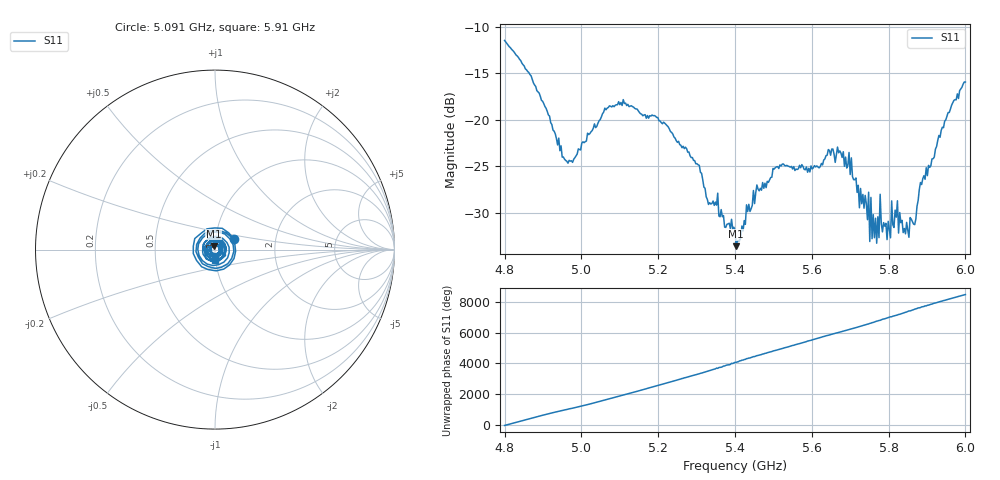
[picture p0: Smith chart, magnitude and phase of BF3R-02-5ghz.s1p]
! NanoVNA-App
! Date: 2026-05-22 16:06:52
! Start: 4.8GHz Stop: 6GHz Points: 401
! S-Parameter data: F S11
# Hz S RI R 50
!  Frequency  S11_Real  S11_Imag
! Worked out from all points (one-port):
!   401 points, 4.8 GHz to 6 GHz, reference 50 ohm
!   lowest |S11| = -33.6 dB at 5.403 GHz (marker M1), VSWR 1.04, Z = 49.2 + j1.93 ohm
!   |S11| at or under -10 dB: start of sweep to end of sweep
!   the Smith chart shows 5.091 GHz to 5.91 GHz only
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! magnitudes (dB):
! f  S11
! 4.8 GHz  -11.5
! 4.866 GHz  -15.1
! 4.95 GHz  -24.0
! 4.977 GHz  -24.6
! 5.061 GHz  -18.7
! 5.1 GHz  -18.4
! 5.193 GHz  -19.6
! 5.25 GHz  -22.4
! 5.307 GHz  -24.9
! 5.331 GHz  -29.1
! 5.4 GHz  -31.8
! 5.403 GHz  -33.6
! 5.409 GHz  -33.0
! 5.454 GHz  -27.9
! 5.505 GHz  -25.2
! 5.55 GHz  -25.3
! 5.622 GHz  -25.0
! 5.649 GHz  -23.8
! 5.7 GHz  -25.9
! 5.763 GHz  -32.7
! 5.784 GHz  -32.1
! 5.799 GHz  -30.9
! 5.823 GHz  -28.7
! 5.85 GHz  -31.9
! 5.868 GHz  -31.3
! 5.886 GHz  -27.0
! 5.952 GHz  -19.6
! 6 GHz  -15.9
